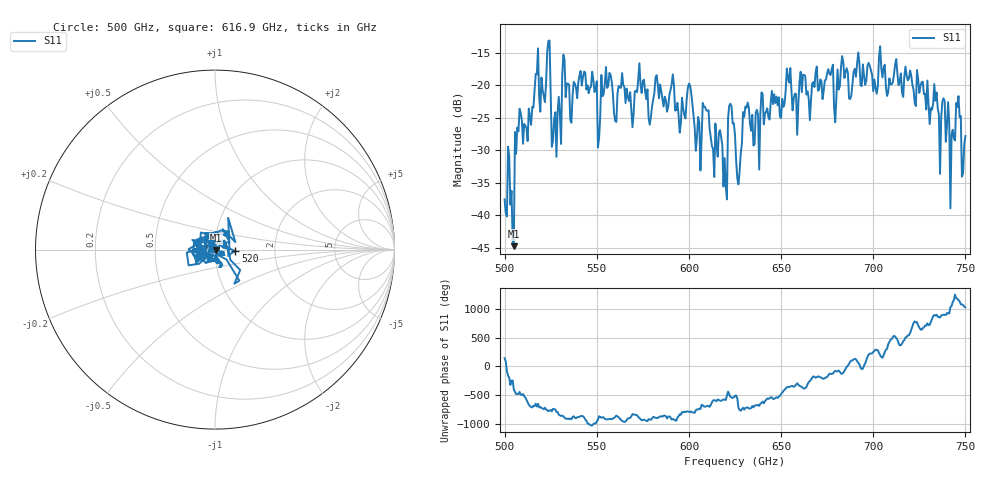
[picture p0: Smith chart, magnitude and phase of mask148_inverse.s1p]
!Created with skrf (http://scikit-rf.org).
# GHz S MA R 50.0
!freq magS11 angS11
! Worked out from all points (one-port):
!   401 points, 500 GHz to 750 GHz, reference 50 ohm
!   lowest |S11| = -44.8 dB at 505 GHz (marker M1), VSWR 1.01, Z = 50.4 - j0.407 ohm
!   |S11| at or under -10 dB: start of sweep to end of sweep
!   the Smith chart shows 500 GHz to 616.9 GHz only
!   S11 on the Smith chart (normalised r, x): 500 GHz: 0.98, +0.02; 520 GHz: 1.26, -0.02; 616.9 GHz: 0.95, +0.07
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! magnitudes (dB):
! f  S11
! 500 GHz  -37.6
! 505 GHz  -44.8
! 508.1 GHz  -23.7
! 520 GHz  -18.8
! 523.8 GHz  -13.2
! 526.9 GHz  -25.3
! 531.2 GHz  -18.6
! 548.8 GHz  -21.1
! 551.9 GHz  -24.9
! 553.8 GHz  -21.4
! 562.5 GHz  -20.4
! 590.6 GHz  -19.9
! 593.8 GHz  -22.7
! 600 GHz  -19.8
! 605 GHz  -24.9
! 608.8 GHz  -23.4
! 616.9 GHz  -26.9
! 619.4 GHz  -31.2
! 622.5 GHz  -22.9
! 625 GHz  -27.7
! 626.9 GHz  -35.3
! 630.6 GHz  -23.3
! 656.2 GHz  -23.9
! 687.5 GHz  -22.2
! 718.8 GHz  -19.3
! 743.1 GHz  -26.9
! 746.2 GHz  -21.7
! 750 GHz  -27.9
